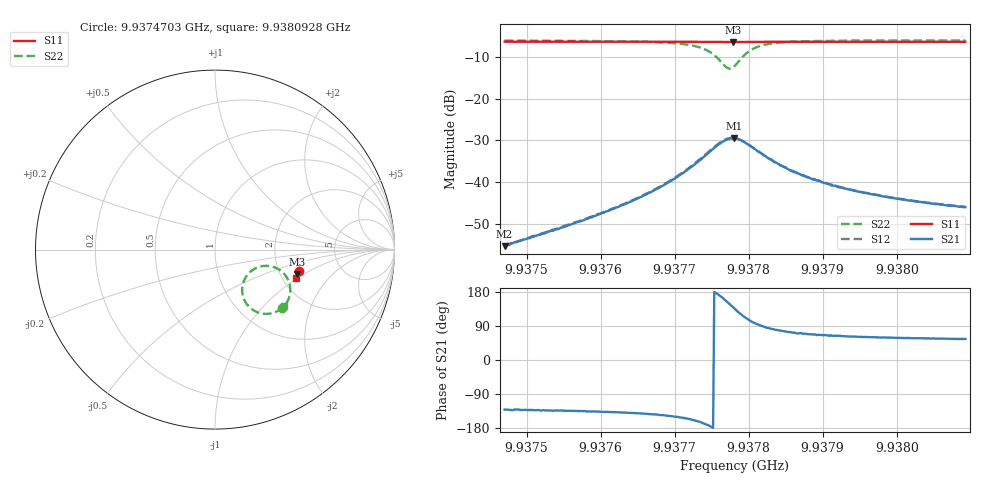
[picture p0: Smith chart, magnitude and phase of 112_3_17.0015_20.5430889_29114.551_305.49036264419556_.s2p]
#  HZ  S  RI  R  50.00
! Rohde & Schwarz Vector Network Analyzer
! Rohde-Schwarz,ZNB20-2Port,1311601062101988,3.16
! Created: UTC 3/20/2024, 10:57:05 PM
! freq[Hz]  re:S11  im:S11  re:S21  im:S21  re:S12  im:S12  re:S22  im:S22
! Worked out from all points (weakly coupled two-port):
!   401 points, 9.9374703 GHz to 9.9380928 GHz, reference 50 ohm
!   highest |S21| = -29.50 dB at 9.93778 GHz (marker M1); lowest = -55.4 dB at 9.9374703 GHz (marker M2)
!   lowest |S11| = -6.4 dB at 9.9377784 GHz (marker M3), VSWR 2.83, Z = 124 - j43.4 ohm
!   |S11| at or under -10 dB: nowhere
!   |S22| runs from -12.8 to -6.0 dB; largest |S21 - S12| = 0.0017
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9.93747031e9  0.4683 -0.1173  -0.00112 -0.00129  -0.00116 -0.00132  0.376 -0.3236
9.93757457e9  0.4657 -0.1246  -0.00241 -0.00243  -0.00251 -0.00245  0.3594 -0.3362
9.93763371e9  0.4643 -0.1286  -0.00414 -0.00361  -0.00427 -0.0036  0.3412 -0.3459
9.93767884e9  0.4632 -0.1317  -0.00698 -0.00488  -0.0072 -0.00494  0.3144 -0.355
9.93770063e9  0.4624 -0.1334  -0.00956 -0.00564  -0.00987 -0.00559  0.2914 -0.3581
9.93771775e9  0.4615 -0.1345  -0.0129 -0.00601  -0.0133 -0.00579  0.2639 -0.3568
9.93774109e9  0.4601 -0.1359  -0.0202 -0.00404  -0.0211 -0.00374  0.2049 -0.3314
9.93775198e9  0.4592 -0.1364  -0.025 -0.000397  -0.0257 0.00029  0.1715 -0.295
9.93776288e9  0.4582 -0.1364  -0.029 0.00686  -0.0294 0.00805  0.1514 -0.2296
9.93777221e9  0.4578 -0.1359  -0.0288 0.0157  -0.0286 0.0173  0.1686 -0.1582
9.93777844e9  0.4579 -0.1355  -0.0256 0.0216  -0.025 0.0229  0.2033 -0.1181
9.93777999e9  0.458 -0.1354  -0.0246 0.0228  -0.0239 0.0241  0.2145 -0.1105
9.93778155e9  0.458 -0.1353  -0.0234 0.0237  -0.0226 0.0252  0.2257 -0.1041
9.93778933e9  0.4586 -0.1352  -0.0165 0.0274  -0.0154 0.0281  0.2854 -0.0904
9.93779867e9  0.4593 -0.1359  -0.00891 0.0271  -0.00775 0.0275  0.3446 -0.104
9.93781579e9  0.46 -0.1372  -0.000454 0.0225  0.000276 0.0225  0.4 -0.1551
9.93784069e9  0.4599 -0.1395  0.00339 0.0161  0.00373 0.016  0.419 -0.2117
9.93785781e9  0.4597 -0.141  0.00402 0.013  0.00429 0.0131  0.419 -0.236
9.93788582e9  0.4591 -0.1432  0.00412 0.0101  0.00436 0.01  0.4145 -0.2611
9.93792628e9  0.458 -0.1461  0.00387 0.00762  0.00406 0.00761  0.407 -0.282
9.93799009e9  0.4566 -0.1504  0.00339 0.00564  0.00353 0.00561  0.3971 -0.3002
9.9380928e9  0.4538 -0.1571  0.00283 0.00413  0.00294 0.00412  0.3857 -0.3162
